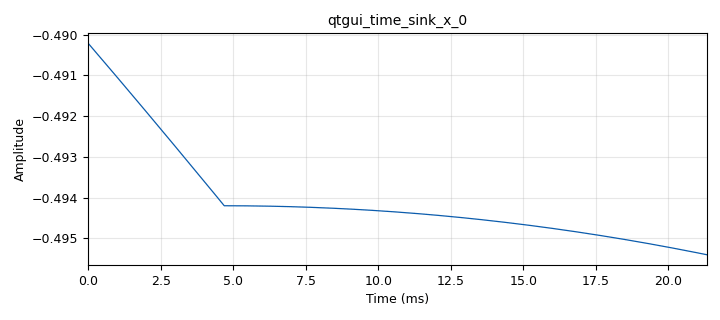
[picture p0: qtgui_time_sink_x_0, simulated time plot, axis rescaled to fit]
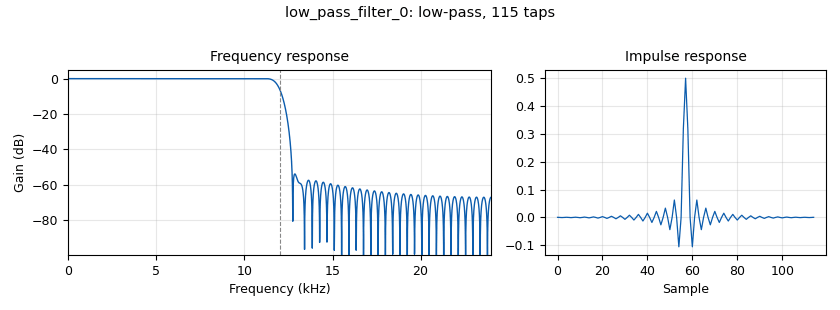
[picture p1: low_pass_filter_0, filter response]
options:
  parameters:
    author: K6OF
    generate_options: qt_gui
    id: scramble_descrable
    output_language: python
    title: Scramble & Descramble
  states: {}

blocks:
- name: cutoff
  id: variable
  parameters:
    value: 12e3
  states: {}
- name: samp_rate
  id: variable
  parameters:
    value: '48000'
  states: {}
- name: analog_noise_source_x_0
  id: analog_noise_source_x
  parameters:
    amp: '1'
    noise_type: analog.GR_GAUSSIAN
    seed: '0'
    type: float
  states: {state: disabled}
- name: analog_sig_source_x_0
  id: analog_sig_source_x
  parameters:
    amp: '1'
    freq: '1000'
    offset: '0'
    phase: '0'
    samp_rate: samp_rate
    type: complex
    waveform: analog.GR_COS_WAVE
  states: {state: disabled}
- name: analog_sig_source_x_1
  id: analog_sig_source_x
  parameters:
    amp: '1'
    freq: '3000'
    offset: '0'
    phase: '0'
    samp_rate: samp_rate
    type: float
    waveform: analog.GR_SIN_WAVE
  states: {state: disabled}
- name: analog_sig_source_x_1_0
  id: analog_sig_source_x
  parameters:
    amp: '1'
    freq: 12e3
    offset: '0'
    phase: '0'
    samp_rate: samp_rate
    type: float
    waveform: analog.GR_COS_WAVE
  states: {state: disabled}
- name: analog_sig_source_x_1_0_0
  id: analog_sig_source_x
  parameters:
    amp: '2'
    freq: 2e3
    offset: '-1'
    phase: '0'
    samp_rate: samp_rate
    type: float
    waveform: analog.GR_SQR_WAVE
  states: {state: disabled}
- name: analog_sig_source_x_1_0_1
  id: analog_sig_source_x
  parameters:
    amp: '1'
    freq: 2e3
    offset: '0'
    phase: '0'
    samp_rate: samp_rate
    type: float
    waveform: analog.GR_COS_WAVE
  states: {state: disabled}
- name: analog_sig_source_x_1_0_2
  id: analog_sig_source_x
  parameters:
    amp: '1'
    freq: '10'
    offset: '0'
    phase: '0'
    samp_rate: samp_rate
    type: float
    waveform: analog.GR_SAW_WAVE
  states: {}
- name: audio_sink_0
  id: audio_sink
  parameters:
    samp_rate: samp_rate
  states: {state: disabled}
- name: audio_sink_0_0
  id: audio_sink
  parameters:
    samp_rate: samp_rate
  states: {}
- name: blocks_multiply_const_vxx_0
  id: blocks_multiply_const_vxx
  parameters:
    const: '.5'
    type: float
  states: {state: disabled}
- name: blocks_multiply_const_vxx_0_0
  id: blocks_multiply_const_vxx
  parameters:
    const: '.5'
    type: float
  states: {}
- name: blocks_multiply_xx_0
  id: blocks_multiply_xx
  parameters:
    type: float
  states: {}
- name: blocks_multiply_xx_0_0
  id: blocks_multiply_xx
  parameters:
    type: float
  states: {state: disabled}
- name: blocks_multiply_xx_0_1
  id: blocks_multiply_xx
  parameters:
    type: float
  states: {state: disabled}
- name: blocks_vco_f_0
  id: blocks_vco_f
  parameters:
    amplitude: '1'
    samp_rate: samp_rate
    sensitivity: '1'
  states: {}
- name: blocks_vector_source_x_0
  id: blocks_vector_source_x
  parameters:
    repeat: 'True'
    type: float
    vector: np.random.random(10).repeat(1000)
  states: {state: disabled}
- name: blocks_wavfile_sink_0
  id: blocks_wavfile_sink
  parameters:
    bits_per_sample1: FORMAT_PCM_16
    file: /media/ring/Unorganized/untitle_scram.wav
    format: FORMAT_WAV
    samp_rate: samp_rate
  states: {state: disabled}
- name: blocks_wavfile_sink_1
  id: blocks_wavfile_sink
  parameters:
    bits_per_sample1: FORMAT_PCM_16
    file: /home/user/scramfinal.wav
    format: FORMAT_WAV
    samp_rate: samp_rate
  states: {state: disabled}
- name: blocks_wavfile_source_0
  id: blocks_wavfile_source
  parameters:
    file: untitle_24.wav
    repeat: 'False'
  states: {}
- name: blocks_wavfile_source_1
  id: blocks_wavfile_source
  parameters:
    file: /home/user/scramout.wav
    repeat: 'True'
  states: {state: disabled}
- name: import_0
  id: import
  parameters:
    imports: import numpy as np
  states: {}
- name: low_pass_filter_0
  id: low_pass_filter
  parameters:
    cutoff_freq: cutoff
    decim: '1'
    gain: '1'
    samp_rate: samp_rate
    type: fir_filter_fff
    width: 1e3
    win: window.WIN_HAMMING
  states: {}
- name: low_pass_filter_0_0
  id: low_pass_filter
  parameters:
    cutoff_freq: cutoff
    decim: '1'
    gain: '1'
    samp_rate: samp_rate
    type: fir_filter_fff
    width: 1e3
    win: window.WIN_HAMMING
  states: {state: disabled}
- name: qtgui_sink_x_2
  id: qtgui_sink_x
  parameters:
    bw: samp_rate
    fc: '0'
    fftsize: '1024'
    showports: 'True'
    showrf: 'True'
    type: float
  states: {state: disabled}
- name: qtgui_time_sink_x_0
  id: qtgui_time_sink_x
  parameters:
    size: '1024'
    srate: samp_rate
    type: float
  states: {}
- name: qtgui_waterfall_sink_x_0
  id: qtgui_waterfall_sink_x
  parameters:
    bw: samp_rate
    fc: '0'
    fftsize: '2048'
    freqhalf: 'False'
    type: float
    update_time: 1/30
  states: {state: disabled}
- name: rational_resampler_xxx_0
  id: rational_resampler_xxx
  parameters:
    decim: '1'
    interp: '2'
    type: fff
  states: {}
- name: virtual_sink_0
  id: virtual_sink
  parameters:
    stream_id: osc
  states: {}
- name: virtual_source_0
  id: virtual_source
  parameters:
    stream_id: osc
  states: {}
- name: virtual_source_0_0
  id: virtual_source
  parameters:
    stream_id: osc
  states: {state: disabled}

connections:
- [analog_sig_source_x_1, '0', qtgui_sink_x_2, '0']
- [analog_sig_source_x_1, '0', virtual_sink_0, '0']
- [analog_sig_source_x_1_0, '0', blocks_multiply_xx_0_1, '1']
- [analog_sig_source_x_1_0_2, '0', blocks_multiply_xx_0_1, '0']
- [analog_sig_source_x_1_0_2, '0', blocks_vco_f_0, '0']
- [blocks_multiply_const_vxx_0, '0', audio_sink_0, '0']
- [blocks_multiply_const_vxx_0_0, '0', audio_sink_0_0, '0']
- [blocks_multiply_xx_0, '0', low_pass_filter_0, '0']
- [blocks_multiply_xx_0_0, '0', low_pass_filter_0_0, '0']
- [blocks_multiply_xx_0_1, '0', blocks_vco_f_0, '0']
- [blocks_vco_f_0, '0', virtual_sink_0, '0']
- [blocks_wavfile_source_0, '0', rational_resampler_xxx_0, '0']
- [blocks_wavfile_source_1, '0', blocks_multiply_xx_0, '0']
- [low_pass_filter_0, '0', blocks_multiply_const_vxx_0_0, '0']
- [low_pass_filter_0, '0', blocks_multiply_xx_0_0, '0']
- [low_pass_filter_0, '0', blocks_wavfile_sink_0, '0']
- [low_pass_filter_0, '0', qtgui_waterfall_sink_x_0, '0']
- [low_pass_filter_0_0, '0', blocks_multiply_const_vxx_0, '0']
- [rational_resampler_xxx_0, '0', blocks_multiply_xx_0, '0']
- [virtual_source_0, '0', blocks_multiply_xx_0, '1']
- [virtual_source_0, '0', qtgui_time_sink_x_0, '0']
- [virtual_source_0_0, '0', blocks_multiply_xx_0_0, '1']

metadata:
  file_format: 1
  grc_version: 3.10.4.0
